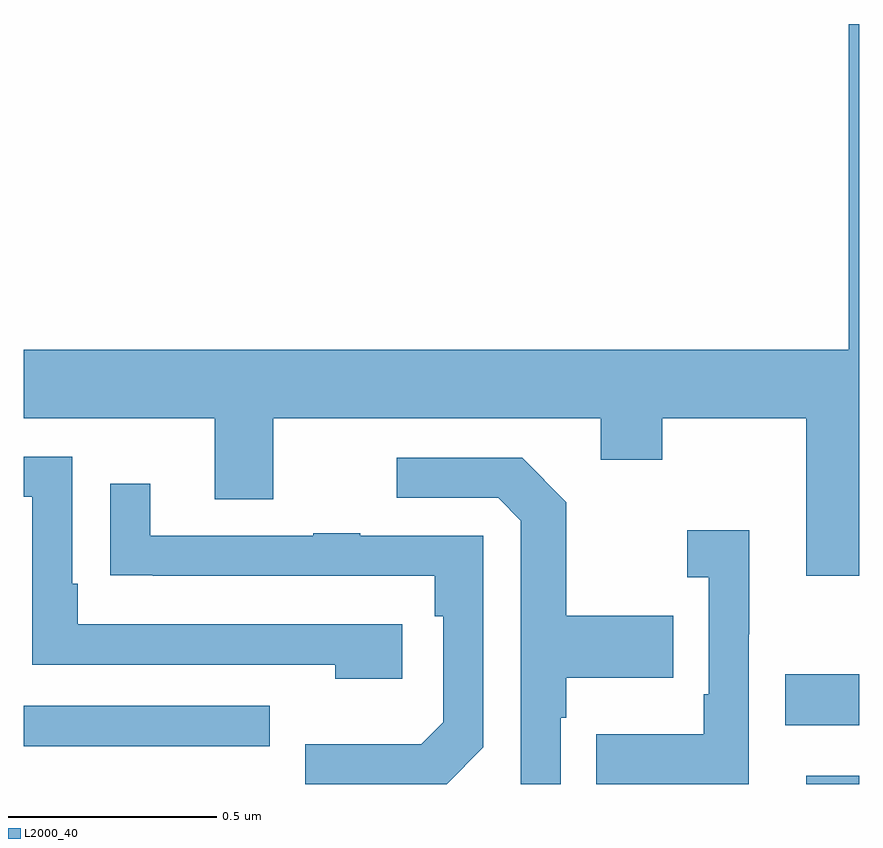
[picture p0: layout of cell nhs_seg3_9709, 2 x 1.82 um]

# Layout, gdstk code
import gdstk
lib = gdstk.Library(unit=1e-6, precision=1e-09)
def R(c, l, rs):  # rectangles x0, y0, x1, y1
    for r in rs: c.add(gdstk.rectangle(r[:2], r[2:], *l))
def P(c, l, *ps):  # polygons
    for p in ps: c.add(gdstk.Polygon(p, *l))
L2000_40 = (2000, 40)

nhs_seg3_9709 = lib.new_cell('nhs_seg3_9709')
R(nhs_seg3_9709, L2000_40, [(233.873,673.4,234,673.42), (232,673.491,232.589,673.587), (233.823,673.541,234,673.663)])
P(nhs_seg3_9709, L2000_40, [(232,674.276),(232.457,674.276),(232.457,674.082),(232.597,674.082),(232.597,674.276),(233.381,674.276),(233.381,674.177),(233.529,674.177),(233.529,674.276),(233.873,674.276),(233.873,673.899),(234,673.899),(234,675.22),(233.975,675.22),(233.975,674.44),(232,674.44)],
  [(232.906,673.782),(232.129,673.782),(232.129,673.879),(232.116,673.879),(232.116,674.184),(232,674.184),(232,674.088),(232.02,674.088),(232.02,673.686),(232.745,673.686),(232.745,673.652),(232.906,673.652)],
  [(233.286,673.559),(233.299,673.559),(233.299,673.655),(233.555,673.655),(233.555,673.803),(233.299,673.803),(233.299,674.075),(233.193,674.181),(232.893,674.181),(232.893,674.085),(233.136,674.085),(233.19,674.031),(233.19,673.4),(233.286,673.4)],
  [(233.1,673.488),(233.1,673.995),(232.805,673.995),(232.805,674),(232.693,674),(232.693,673.995),(232.303,673.995),(232.303,674.119),(232.207,674.119),(232.207,673.9),(232.309,673.9),(232.309,673.899),(232.984,673.899),(232.984,673.802),(233.004,673.802),(233.004,673.548),(232.951,673.495),(232.674,673.495),(232.674,673.4),(233.012,673.4)],
  [(233.736,673.759),(233.737,673.759),(233.737,674.008),(233.589,674.008),(233.589,673.895),(233.64,673.895),(233.64,673.615),(233.628,673.615),(233.628,673.519),(233.371,673.519),(233.371,673.4),(233.736,673.4)])

lib.write_gds('nhs_seg3_9709.gds')
